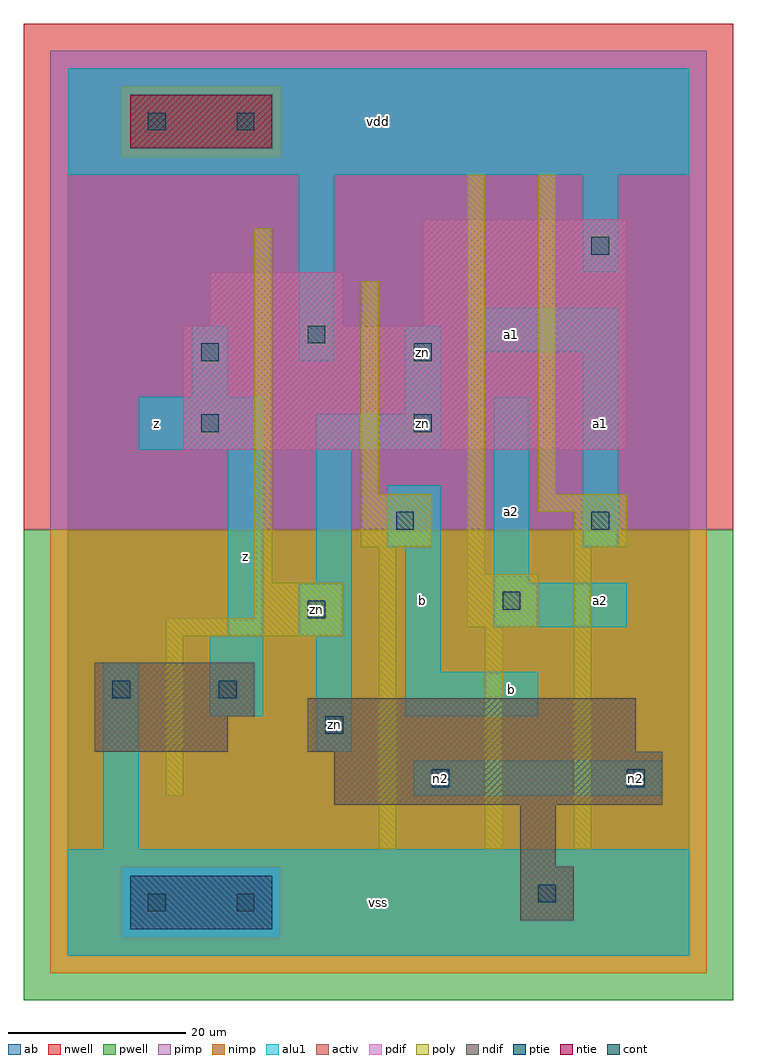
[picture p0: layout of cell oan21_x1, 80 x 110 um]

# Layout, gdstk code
import gdstk
lib = gdstk.Library(unit=1e-6, precision=1e-09)
def R(c, l, rs):  # rectangles x0, y0, x1, y1
    for r in rs: c.add(gdstk.rectangle(r[:2], r[2:], *l))
ndif = (3, 0)
pdif = (4, 0)
ntie = (5, 0)
ptie = (6, 0)
cont = (25, 0)
pwell = (41, 0)
nwell = (42, 0)
activ = (43, 0)
pimp = (44, 0)
nimp = (45, 0)
poly = (46, 0)
alu1 = (49, 0)
ab = (63, 0)

oan21_x1 = lib.new_cell('oan21_x1')
R(oan21_x1, ndif, [(51,4,57,10), (51,10,55,17), (30,17,67,23), (3,23,18,27), (27,23,64,29), (3,27,21,33)])
R(oan21_x1, pdif, [(13,57,63,71), (16,71,31,77), (40,71,63,83)])
R(oan21_x1, ntie, [(7,91,23,97)])
R(oan21_x1, ptie, [(7,3,23,9)])
R(oan21_x1, cont, [(9,5,11,7), (19,5,21,7), (53,6,55,8), (41,19,43,21), (63,19,65,21), (29,25,31,27), (5,29,7,31), (17,29,19,31), (27,38,29,40), (49,39,51,41), (37,48,39,50), (59,48,61,50), (15,59,17,61), (39,59,41,61), (15,67,17,69), (39,67,41,69), (27,69,29,71), (59,79,61,81), (9,93,11,95), (19,93,21,95)])
R(oan21_x1, pwell, [(-5,-5,75,48)])
R(oan21_x1, nwell, [(-5,48,75,105)])
R(oan21_x1, activ, [(7,3,23,9), (51,4,57,10), (51,10,55,17), (30,17,67,23), (3,23,18,27), (27,23,64,29), (3,27,21,33), (13,57,63,71), (16,71,31,77), (40,71,63,83), (7,91,23,97)])
R(oan21_x1, pimp, [(6,2,24,10), (-2,48,72,90), (-2,90,6,98), (24,90,72,98), (-2,98,72,102)])
R(oan21_x1, nimp, [(-2,-2,72,2), (-2,2,6,10), (24,2,72,10), (-2,10,72,48), (6,90,24,98)])
R(oan21_x1, poly, [(35,12,37,46), (47,12,49,37), (57,12,59,46), (11,18,13,36), (11,36,31,38), (45,37,53,43), (21,38,31,42), (21,42,23,82), (45,43,47,88), (33,46,41,52), (57,46,63,50), (53,50,63,52), (33,52,35,76), (53,52,55,88)])
R(oan21_x1, alu1, [(0,0,70,12), (4,12,8,33), (39,18,67,22), (28,23,32,36), (16,27,22,36), (38,27,53,32), (38,32,42,46), (18,36,22,57), (26,36,32,42), (48,37,63,42), (28,42,32,57), (48,42,52,63), (36,46,42,53), (58,46,62,68), (8,57,22,63), (28,57,42,61), (38,61,42,71), (14,63,18,71), (26,67,30,88), (47,68,62,73), (58,77,62,88), (0,88,70,100)])
R(oan21_x1, ab, [(0,0,70,100)])
oan21_x1.add(gdstk.Label('n2', (42,20), layer=49, texttype=0))
oan21_x1.add(gdstk.Label('zn', (30,26), layer=49, texttype=0))
oan21_x1.add(gdstk.Label('zn', (28,39), layer=49, texttype=0))
oan21_x1.add(gdstk.Label('zn', (40,60), layer=49, texttype=0))
oan21_x1.add(gdstk.Label('zn', (40,68), layer=49, texttype=0))
oan21_x1.add(gdstk.Label('n2', (64,20), layer=49, texttype=0))
oan21_x1.add(gdstk.Label('z', (10,60), layer=49, texttype=0))
oan21_x1.add(gdstk.Label('z', (20,45), layer=49, texttype=0))
oan21_x1.add(gdstk.Label('vss', (35,6), layer=49, texttype=0))
oan21_x1.add(gdstk.Label('b', (40,40), layer=49, texttype=0))
oan21_x1.add(gdstk.Label('b', (50,30), layer=49, texttype=0))
oan21_x1.add(gdstk.Label('a2', (50,50), layer=49, texttype=0))
oan21_x1.add(gdstk.Label('a1', (50,70), layer=49, texttype=0))
oan21_x1.add(gdstk.Label('vdd', (35,94), layer=49, texttype=0))
oan21_x1.add(gdstk.Label('a2', (60,40), layer=49, texttype=0))
oan21_x1.add(gdstk.Label('a1', (60,60), layer=49, texttype=0))

lib.write_gds('oan21_x1.gds')
